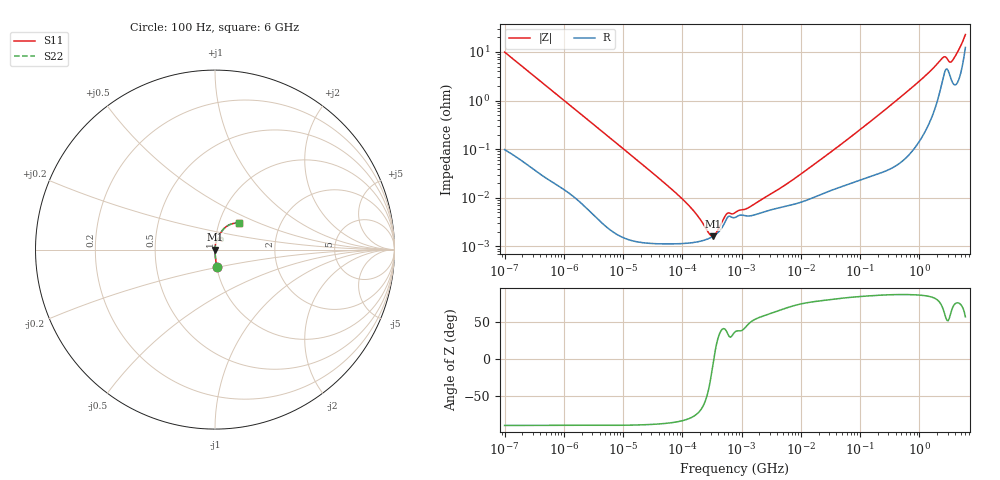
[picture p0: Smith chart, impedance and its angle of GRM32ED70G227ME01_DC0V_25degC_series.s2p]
!Murata Part Number: GRM32ED70G227ME01
!These Parameters are Measured in Series Mode Connection
!  o--ll--o
!Port1  Port2
!  o------o
!Operation Temp=25[degC], DC Bias Voltage=0[V]
!Freq. Start=100[Hz] Stop=6[GHz], 401[Steps]
!Data Generated on Oct 3, 2023
# Hz S RI R 50
!Freq.(Hz) S11(Real) S11(Imag) S21(Real) S21(Imag) S12(Real) S12(Imag) S22(Real) S22(Imag)
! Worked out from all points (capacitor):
!   401 points, 100 Hz to 6 GHz, reference 50 ohm
!   read as one part in series: C = 160 uF near 109.4 Hz
!   lowest |Z| = 1.62 mohm at 330.8 kHz (marker M1)
!   series resonance near 339.5 kHz, so ESL is about 1.4 nH
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100  0.0107 -0.098  0.9893 0.098  0.9893 0.098  0.0107 -0.098
334.9849  0.00125 -0.0298  0.9988 0.0298  0.9988 0.0298  0.00125 -0.0298
2008.354  0.000101 -0.00507  0.9999 0.00507  0.9999 0.00507  0.000101 -0.00507
40334.87  1.14e-05 -0.000251  1 0.000251  1 0.000251  1.14e-05 -0.000251
86347.96  1.14e-05 -0.000111  1 0.000111  1 0.000111  1.14e-05 -0.000111
98761.63  1.14e-05 -9.54e-05  1 9.54e-05  1 9.54e-05  1.14e-05 -9.54e-05
330836.5  1.62e-05 -1.59e-06  1 1.59e-06  1 1.59e-06  1.62e-05 -1.59e-06
774596.7  3.93e-05 2.95e-05  1 -2.95e-05  1 -2.95e-05  3.93e-05 2.95e-05
2481164  5.21e-05 8.75e-05  0.9999 -8.75e-05  0.9999 -8.75e-05  5.21e-05 8.75e-05
5554849  6.68e-05 0.000174  0.9999 -0.000174  0.9999 -0.000174  6.68e-05 0.000174
1.555665e7  9.9e-05 0.000445  0.9999 -0.000445  0.9999 -0.000445  9.9e-05 0.000445
6.233367e7  0.00019 0.0016  0.9998 -0.0016  0.9998 -0.0016  0.00019 0.0016
3.124326e8  0.000442 0.00762  0.9996 -0.00762  0.9996 -0.00762  0.000442 0.00762
1.144649e9  0.00271 0.0288  0.9973 -0.0288  0.9973 -0.0288  0.00271 0.0288
2.450438e9  0.029 0.0667  0.971 -0.0667  0.971 -0.0667  0.029 0.0667
2.679998e9  0.0413 0.0646  0.9587 -0.0646  0.9587 -0.0646  0.0413 0.0646
3.205649e9  0.037 0.0479  0.963 -0.0479  0.963 -0.0479  0.037 0.0479
3.505958e9  0.0284 0.0547  0.9716 -0.0547  0.9716 -0.0547  0.0284 0.0547
3.8344e9  0.0256 0.0671  0.9744 -0.0671  0.9744 -0.0671  0.0256 0.0671
4.796499e9  0.0417 0.1078  0.9583 -0.1078  0.9583 -0.1078  0.0417 0.1078
5.486059e9  0.0793 0.1382  0.9207 -0.1382  0.9207 -0.1382  0.0793 0.1382
6e9  0.1353 0.148  0.8647 -0.148  0.8647 -0.148  0.1353 0.148
